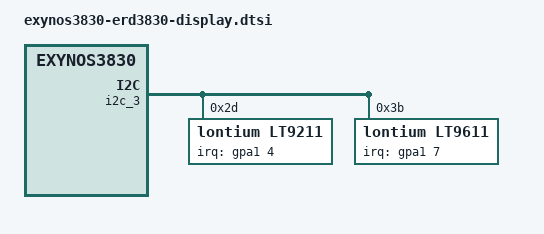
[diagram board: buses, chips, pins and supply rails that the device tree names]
/*
 * Display device tree source
 *
 * Copyright (c) 2020 Han Ye <yanghs0702@thundersoft.com>
 *
 * This program is free software; you can redistribute it and/or modify
 * it under the terms of the GNU General Public License version 2 as
 * published by the Free Software Foundation.
 */


#include <dt-bindings/interrupt-controller/exynos3830.h>
#include <dt-bindings/clock/exynos3830.h>

/ {
    	fragment@display {
	    		target-path = "/";
			__overlay__ {

			};
	};
};

&i2c_3 {
        status = "okay";
	#address-cells = <1>;
	#size-cells = <0>;
        lt9211@2d{
	    compatible = "lontium,lt9211";
            reg = <0x2d>;
            pinctrl-names = "on_state","off_state";
            pinctrl-0 = <&lt9211_irq>;
            pinctrl-1 = <&lt9211_input>;
            lt9211,irq-gpio = <&gpa1 4 0>;
	};

	lt9611@3b {
	    compatible = "lontium,lt9611";
	    reg = <0x3b>;
	    pinctrl-names ="on_state","lcd_bl_on","off_state";
	    pinctrl-0 = <&lt9611_irq>;
	    pinctrl-1 = <&lcd_bl_on>;
	    pinctrl-2 = <&lt9611_input>;
    	    lt9611,irq-gpio = <&gpa1 7 0>;
	};
};
